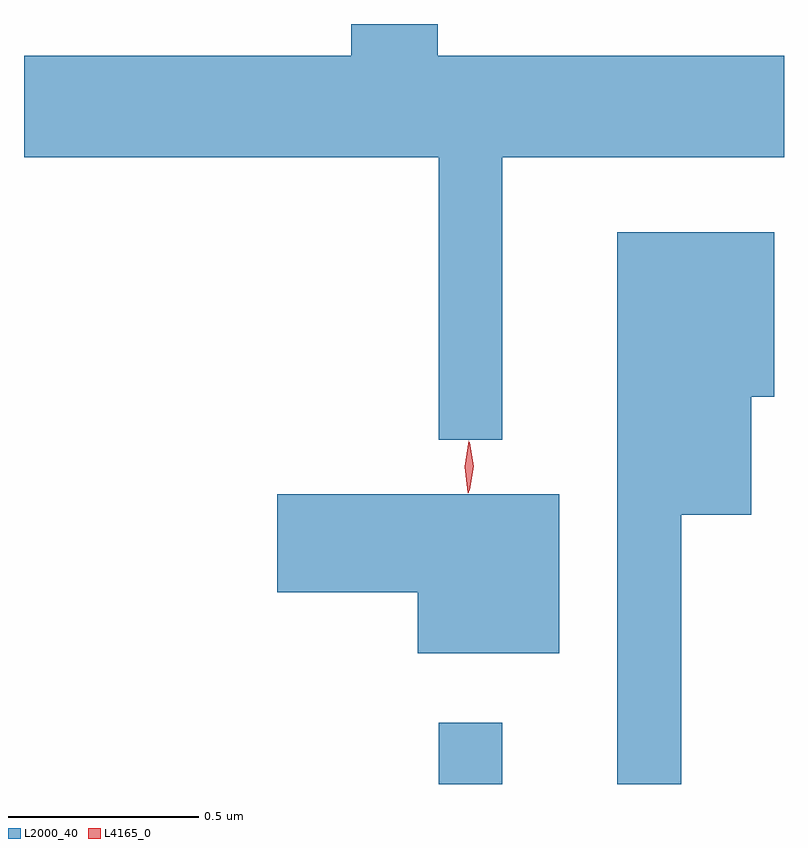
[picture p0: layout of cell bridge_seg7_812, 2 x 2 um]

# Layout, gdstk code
import gdstk
lib = gdstk.Library(unit=1e-6, precision=1e-09)
def R(c, l, rs):  # rectangles x0, y0, x1, y1
    for r in rs: c.add(gdstk.rectangle(r[:2], r[2:], *l))
def P(c, l, *ps):  # polygons
    for p in ps: c.add(gdstk.Polygon(p, *l))
L2000_40 = (2000, 40)
L4165_0 = (4165, 0)

bridge_seg7_812 = lib.new_cell('bridge_seg7_812')
R(bridge_seg7_812, L2000_40, [(212.391,1765.947,212.559,1766.108)])
P(bridge_seg7_812, L2000_40, [(212.559,1767.596),(213.3,1767.596),(213.3,1767.864),(212.389,1767.864),(212.389,1767.947),(212.161,1767.947),(212.161,1767.864),(211.3,1767.864),(211.3,1767.596),(212.391,1767.596),(212.391,1766.853),(212.559,1766.853)],
  [(213.029,1766.656),(213.214,1766.656),(213.214,1766.966),(213.274,1766.966),(213.274,1767.399),(212.861,1767.399),(212.861,1765.947),(213.029,1765.947)],
  [(212.709,1766.709),(211.966,1766.709),(211.966,1766.451),(212.336,1766.451),(212.336,1766.291),(212.709,1766.291)])
P(bridge_seg7_812, L4165_0, [(212.472,1766.72),(212.463,1766.783),(212.472,1766.846),(212.473,1766.847),(212.473,1766.846),(212.483,1766.783),(212.473,1766.72),(212.473,1766.72)],
  [(212.468,1766.714),(212.46,1766.782),(212.47,1766.85),(212.47,1766.85),(212.471,1766.85),(212.48,1766.782),(212.47,1766.714),(212.469,1766.714)])

lib.write_gds('bridge_seg7_812.gds')
